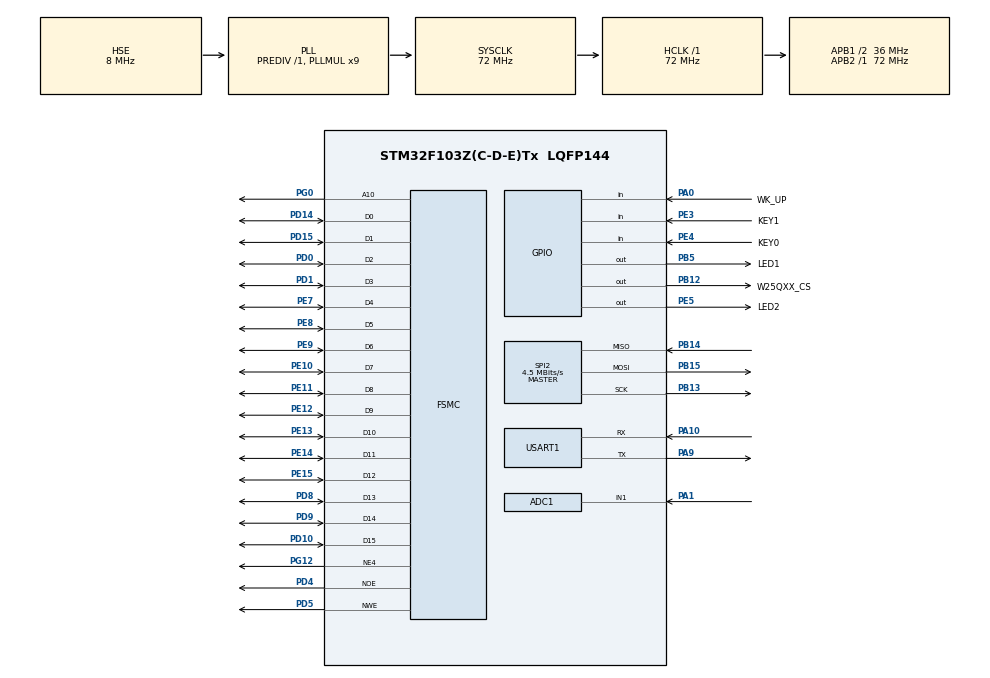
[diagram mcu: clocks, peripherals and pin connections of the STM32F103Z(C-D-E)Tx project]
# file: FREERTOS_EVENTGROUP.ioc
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ADC1.Channel-3\#ChannelRegularConversion=ADC_CHANNEL_1
ADC1.ExternalTrigConv=ADC_EXTERNALTRIGCONV_T3_TRGO
ADC1.NbrOfConversionFlag=1
ADC1.Rank-3\#ChannelRegularConversion=1
ADC1.SamplingTime-3\#ChannelRegularConversion=ADC_SAMPLETIME_1CYCLE_5
ADC1.master=1
FREERTOS.BinarySemaphores01=BinSem_DataReady,Dynamic,NULL
FREERTOS.INCLUDE_xEventGroupSetBitFromISR=1
FREERTOS.INCLUDE_xTaskAbortDelay=1
FREERTOS.INCLUDE_xTaskGetCurrentTaskHandle=1
FREERTOS.INCLUDE_xTaskGetHandle=1
FREERTOS.Queues01=Queue_Keys,10,uint8_t,0,Dynamic,NULL,NULL
FREERTOS.Tasks01=Task_LCD,24,128,AppTask_LCD,Default,NULL,Dynamic,NULL,NULL;Task_LED,16,128,AppTask_LED,Default,NULL,Dynamic,NULL,NULL;Task_ScanKeys,32,128,AppTask_ScanKeys,Default,NULL,Dynamic,NULL,NULL
FSMC.AddressSetupTime4=6
FSMC.BusTurnAroundDuration4=0
FSMC.DataSetupTime4=26
FSMC.ExtendedAddressSetupTime4=3
FSMC.ExtendedBusTurnAroundDuration4=0
FSMC.ExtendedDataSetupTime4=6
FSMC.ExtendedMode4=FSMC_EXTENDED_MODE_ENABLE
Mcu.Family=STM32F1
Mcu.Name=STM32F103Z(C-D-E)Tx
Mcu.Package=LQFP144
NVIC.PriorityGroup=NVIC_PRIORITYGROUP_4
NVIC.RTC_Alarm_IRQn=true\:5\:0\:false\:false\:true\:true\:true\:true\:true
NVIC.RTC_IRQn=true\:5\:0\:false\:false\:true\:true\:true\:true\:true
NVIC.TIM6_IRQn=true\:15\:0\:false\:false\:true\:false\:false\:true\:true
NVIC.TimeBase=TIM6_IRQn
NVIC.TimeBaseIP=TIM6
NVIC.USART1_IRQn=true\:5\:0\:false\:false\:true\:true\:true\:true\:true
OSC_IN.Mode=HSE-External-Oscillator
OSC_IN.Signal=RCC_OSC_IN
OSC_OUT.Mode=HSE-External-Oscillator
OSC_OUT.Signal=RCC_OSC_OUT
PA0-WKUP.GPIO_Label=WK_UP
PA0-WKUP.GPIO_PuPd=GPIO_PULLDOWN
PA0-WKUP.Signal=GPIO_Input
PA1.Signal=ADCx_IN1
PA10.Mode=Asynchronous
PA10.Signal=USART1_RX
PA13.Mode=Serial_Wire
PA13.Signal=SYS_JTMS-SWDIO
PA14.Mode=Serial_Wire
PA14.Signal=SYS_JTCK-SWCLK
PA9.Mode=Asynchronous
PA9.Signal=USART1_TX
PB12.GPIO_Label=W25QXX_CS
PB12.GPIO_PuPd=GPIO_PULLUP
PB12.GPIO_Speed=GPIO_SPEED_FREQ_HIGH
PB12.PinState=GPIO_PIN_SET
PB12.Signal=GPIO_Output
PB13.Mode=Full_Duplex_Master
PB13.Signal=SPI2_SCK
PB14.Mode=Full_Duplex_Master
PB14.Signal=SPI2_MISO
PB15.Mode=Full_Duplex_Master
PB15.Signal=SPI2_MOSI
PB5.GPIO_Label=LED1
PB5.GPIO_Speed=GPIO_SPEED_FREQ_HIGH
PB5.Signal=GPIO_Output
PC14-OSC32_IN.Mode=LSE-External-Oscillator
PC14-OSC32_IN.Signal=RCC_OSC32_IN
PC15-OSC32_OUT.Mode=LSE-External-Oscillator
PC15-OSC32_OUT.Signal=RCC_OSC32_OUT
PD0.Signal=FSMC_D2_DA2
PD1.Signal=FSMC_D3_DA3
PD10.Signal=FSMC_D15_DA15
PD14.Signal=FSMC_D0_DA0
PD15.Signal=FSMC_D1_DA1
PD4.Signal=FSMC_NOE
PD5.Signal=FSMC_NWE
PD8.Signal=FSMC_D13_DA13
PD9.Signal=FSMC_D14_DA14
PE10.Signal=FSMC_D7_DA7
PE11.Signal=FSMC_D8_DA8
PE12.Signal=FSMC_D9_DA9
PE13.Signal=FSMC_D10_DA10
PE14.Signal=FSMC_D11_DA11
PE15.Signal=FSMC_D12_DA12
PE3.GPIO_Label=KEY1
PE3.GPIO_PuPd=GPIO_PULLUP
PE3.Signal=GPIO_Input
PE4.GPIO_Label=KEY0
PE4.GPIO_PuPd=GPIO_PULLUP
PE4.Signal=GPIO_Input
PE5.GPIO_Label=LED2
PE5.GPIO_Speed=GPIO_SPEED_FREQ_HIGH
PE5.Signal=GPIO_Output
PE7.Signal=FSMC_D4_DA4
PE8.Signal=FSMC_D5_DA5
PE9.Signal=FSMC_D6_DA6
PG0.Signal=FSMC_A10
PG12.Mode=NorPsramChipSelect4_4
PG12.Signal=FSMC_NE4
ProjectManager.HeapSize=0x200
ProjectManager.StackSize=0x400
ProjectManager.TargetToolchain=STM32CubeIDE
RCC.AHBFreq_Value=72000000
RCC.APB1CLKDivider=RCC_HCLK_DIV2
RCC.APB1Freq_Value=36000000
RCC.APB1TimFreq_Value=72000000
RCC.APB2Freq_Value=72000000
RCC.APB2TimFreq_Value=72000000
RCC.HCLKFreq_Value=72000000
RCC.PLLMUL=RCC_PLL_MUL9
RCC.PLLSourceVirtual=RCC_PLLSOURCE_HSE
RCC.RTCClockSelection=RCC_RTCCLKSOURCE_LSE
RCC.SYSCLKFreq_VALUE=72000000
RCC.SYSCLKSource=RCC_SYSCLKSOURCE_PLLCLK
RCC.USBFreq_Value=72000000
RTC.AutoPrediv=RTC_AUTO_1_SECOND
RTC.Format=RTC_FORMAT_BIN
SH.ADCx_IN1.0=ADC1_IN1,IN1
SH.FSMC_A10.0=FSMC_A10,A10_4
SH.FSMC_D0_DA0.0=FSMC_D0,16b-d4
SH.FSMC_D10_DA10.0=FSMC_D10,16b-d4
SH.FSMC_D11_DA11.0=FSMC_D11,16b-d4
SH.FSMC_D12_DA12.0=FSMC_D12,16b-d4
SH.FSMC_D13_DA13.0=FSMC_D13,16b-d4
SH.FSMC_D14_DA14.0=FSMC_D14,16b-d4
SH.FSMC_D15_DA15.0=FSMC_D15,16b-d4
SH.FSMC_D1_DA1.0=FSMC_D1,16b-d4
SH.FSMC_D2_DA2.0=FSMC_D2,16b-d4
SH.FSMC_D3_DA3.0=FSMC_D3,16b-d4
SH.FSMC_D4_DA4.0=FSMC_D4,16b-d4
SH.FSMC_D5_DA5.0=FSMC_D5,16b-d4
SH.FSMC_D6_DA6.0=FSMC_D6,16b-d4
SH.FSMC_D7_DA7.0=FSMC_D7,16b-d4
SH.FSMC_D8_DA8.0=FSMC_D8,16b-d4
SH.FSMC_D9_DA9.0=FSMC_D9,16b-d4
SH.FSMC_NOE.0=FSMC_NOE,Lcd4
SH.FSMC_NWE.0=FSMC_NWE,Lcd4
SPI2.BaudRatePrescaler=SPI_BAUDRATEPRESCALER_8
SPI2.CLKPhase=SPI_PHASE_2EDGE
SPI2.CLKPolarity=SPI_POLARITY_HIGH
SPI2.CRCCalculation=SPI_CRCCALCULATION_DISABLE
SPI2.CalculateBaudRate=4.5 MBits/s
SPI2.Direction=SPI_DIRECTION_2LINES
SPI2.Mode=SPI_MODE_MASTER
SPI2.VirtualType=VM_MASTER
TIM3.Period=4999
TIM3.Prescaler=7199
TIM3.TIM_MasterOutputTrigger=TIM_TRGO_UPDATE
USART1.VirtualMode=VM_ASYNC
VP_FREERTOS_VS_CMSIS_V2.Mode=CMSIS_V2
VP_RTC_VS_RTC_Activate.Mode=RTC_Enabled
VP_SYS_VS_tim6.Mode=TIM6
VP_TIM3_VS_ClockSourceINT.Mode=Internal
board=custom

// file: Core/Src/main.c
/* USER CODE BEGIN Header */
/**
  ******************************************************************************
  * @file           : main.c
  * @brief          : Main program body
  ******************************************************************************
  * @attention
  *
  * Copyright (c) 2023 STMicroelectronics.
  * All rights reserved.
  *
  * This software is licensed under terms that can be found in the LICENSE file
  * in the root directory of this software component.
  * If no LICENSE file comes with this software, it is provided AS-IS.
  *
  ******************************************************************************
  */
/* USER CODE END Header */
#include "main.h"
#include "cmsis_os.h"
#include "adc.h"
#include "rtc.h"
#include "spi.h"
#include "tim.h"
#include "usart.h"
#include "gpio.h"
#include "fsmc.h"

/* USER CODE BEGIN Includes */
#include "stdio.h"
#include "lcd.h"
#include "w25qxx.h"
#include <string.h>
/* USER CODE END Includes */

void SystemClock_Config(void);
void MX_FREERTOS_Init(void);

int main(void)
{
  /* USER CODE BEGIN 1 */
	int x = 0,FLASH_SIZE,id;
	u8 lcd_id[12],datatemp[20];						//存放LCD ID字符�?????????????????
  /* USER CODE END 1 */

  /* MCU Configuration--------------------------------------------------------*/

  /* Reset of all peripherals, Initializes the Flash interface and the Systick. */
  HAL_Init();

  /* Configure the system clock */
  SystemClock_Config();

  /* Initialize all configured peripherals */
  MX_GPIO_Init();
  MX_USART1_UART_Init();
  MX_FSMC_Init();
  MX_SPI2_Init();
  MX_RTC_Init();
  MX_ADC1_Init();
  MX_TIM3_Init();
  /* USER CODE BEGIN 2 */
	LCD_Init();
	POINT_COLOR=RED;     				//画笔颜色：红�?????????????????
//	sprintf((char*)lcd_id,"LCD ID:%04X",lcddev.id);//将LCD ID打印到lcd_id数组�?????????????????
	LCD_Clear(WHITE);
//	POINT_COLOR=RED;
//	HAL_ADC_Start_IT(&hadc1); //以中断方式启动ADC
//	HAL_TIM_Base_Start(&htim3); //启动定时�?
	LCD_ShowString(30,40,210,12,12,"Demo7_1:EventGroup");

  /* USER CODE END 2 */

  /* Init scheduler */
  osKernelInitialize();  /* Call init function for freertos objects (in freertos.c) */
  MX_FREERTOS_Init();

  /* Start scheduler */
  osKernelStart();
  /* We should never get here as control is now taken by the scheduler */
  /* Infinite loop */
  /* USER CODE BEGIN WHILE */
	while (1)
	{

		osDelay(500);
		HAL_GPIO_TogglePin(LED1_GPIO_Port,LED1_Pin);
    /* USER CODE END WHILE */

  }
}

void SystemClock_Config(void)
{
  RCC_OscInitTypeDef RCC_OscInitStruct = {0};
  RCC_ClkInitTypeDef RCC_ClkInitStruct = {0};
  RCC_PeriphCLKInitTypeDef PeriphClkInit = {0};

  /** Initializes the RCC Oscillators according to the specified parameters
  * in the RCC_OscInitTypeDef structure.
  */
  RCC_OscInitStruct.OscillatorType = RCC_OSCILLATORTYPE_HSE|RCC_OSCILLATORTYPE_LSE;
  RCC_OscInitStruct.HSEState = RCC_HSE_ON;
  RCC_OscInitStruct.HSEPredivValue = RCC_HSE_PREDIV_DIV1;
  RCC_OscInitStruct.LSEState = RCC_LSE_ON;
  RCC_OscInitStruct.HSIState = RCC_HSI_ON;
  RCC_OscInitStruct.PLL.PLLState = RCC_PLL_ON;
  RCC_OscInitStruct.PLL.PLLSource = RCC_PLLSOURCE_HSE;
  RCC_OscInitStruct.PLL.PLLMUL = RCC_PLL_MUL9;
  if (HAL_RCC_OscConfig(&RCC_OscInitStruct) != HAL_OK)
  {
    Error_Handler();
  }

  /** Initializes the CPU, AHB and APB buses clocks
  */
  RCC_ClkInitStruct.ClockType = RCC_CLOCKTYPE_HCLK|RCC_CLOCKTYPE_SYSCLK
                              |RCC_CLOCKTYPE_PCLK1|RCC_CLOCKTYPE_PCLK2;
  RCC_ClkInitStruct.SYSCLKSource = RCC_SYSCLKSOURCE_PLLCLK;
  RCC_ClkInitStruct.AHBCLKDivider = RCC_SYSCLK_DIV1;
  RCC_ClkInitStruct.APB1CLKDivider = RCC_HCLK_DIV2;
  RCC_ClkInitStruct.APB2CLKDivider = RCC_HCLK_DIV1;

  if (HAL_RCC_ClockConfig(&RCC_ClkInitStruct, FLASH_LATENCY_2) != HAL_OK)
  {
    Error_Handler();
  }
  PeriphClkInit.PeriphClockSelection = RCC_PERIPHCLK_RTC|RCC_PERIPHCLK_ADC;
  PeriphClkInit.RTCClockSelection = RCC_RTCCLKSOURCE_LSE;
  PeriphClkInit.AdcClockSelection = RCC_ADCPCLK2_DIV2;
  if (HAL_RCCEx_PeriphCLKConfig(&PeriphClkInit) != HAL_OK)
  {
    Error_Handler();
  }
}

/* USER CODE BEGIN 4 */

void delay_us(uint32_t udelay)
{
  uint32_t startval,tickn,delays,wait;

  startval = SysTick->VAL;
  tickn = HAL_GetTick();
  //sysc = 72000;  //SystemCoreClock / (1000U / uwTickFreq);
  delays =udelay * 72; //sysc / 1000 * udelay;
  if(delays > startval)
    {
      while(HAL_GetTick() == tickn)
        {

        }
      wait = 72000 + startval - delays;
      while(wait < SysTick->VAL)
        {

        }
    }
  else
    {
      wait = startval - delays;
      while(wait < SysTick->VAL && HAL_GetTick() == tickn)
        {

        }
    }
}

void delay_ms(uint32_t udelay)
{
	HAL_Delay(udelay);
	//osDelay(udelay);
}
/* USER CODE END 4 */

void HAL_TIM_PeriodElapsedCallback(TIM_HandleTypeDef *htim)
{
  if (htim->Instance == TIM6) {
    HAL_IncTick();
  }
}

void Error_Handler(void)
{
  __disable_irq();
  while (1)
  {
  }
}

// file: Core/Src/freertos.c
/* USER CODE BEGIN Header */
/**
  ******************************************************************************
  * File Name          : freertos.c
  * Description        : Code for freertos applications
  ******************************************************************************
  * @attention
  *
  * Copyright (c) 2023 STMicroelectronics.
  * All rights reserved.
  *
  * This software is licensed under terms that can be found in the LICENSE file
  * in the root directory of this software component.
  * If no LICENSE file comes with this software, it is provided AS-IS.
  *
  ******************************************************************************
  */
/* USER CODE END Header */

#include "FreeRTOS.h"
#include "task.h"
#include "main.h"
#include "cmsis_os.h"

/* USER CODE BEGIN Includes */
#include "lcd.h"
#include "adc.h"
#include "gpio.h"
#include "queue.h"
#include "semphr.h"
#include "event_groups.h" //事件组相关头文件
/* USER CODE END Includes */

/* USER CODE BEGIN PD */
#define BITMASK_KEY_LEFT 0x04 //KeyLeft的事件位掩码，使用Bit2位
#define BITMASK_KEY_RIGHT 0x01 //KeyRight的事件位掩码，使用Bit0位
/* USER CODE END PD */

/* USER CODE BEGIN Variables */
uint32_t adc_value;
EventGroupHandle_t eventGroupHandle; //事件组对象句柄
/* USER CODE END Variables */
/* Definitions for Task_LCD */
osThreadId_t Task_LCDHandle;
const osThreadAttr_t Task_LCD_attributes = {
  .name = "Task_LCD",
  .stack_size = 128 * 4,
  .priority = (osPriority_t) osPriorityNormal,
};
/* Definitions for Task_LED */
osThreadId_t Task_LEDHandle;
const osThreadAttr_t Task_LED_attributes = {
  .name = "Task_LED",
  .stack_size = 128 * 4,
  .priority = (osPriority_t) osPriorityBelowNormal,
};
/* Definitions for Task_ScanKeys */
osThreadId_t Task_ScanKeysHandle;
const osThreadAttr_t Task_ScanKeys_attributes = {
  .name = "Task_ScanKeys",
  .stack_size = 128 * 4,
  .priority = (osPriority_t) osPriorityAboveNormal,
};
/* Definitions for Queue_Keys */
osMessageQueueId_t Queue_KeysHandle;
const osMessageQueueAttr_t Queue_Keys_attributes = {
  .name = "Queue_Keys"
};
/* Definitions for BinSem_DataReady */
osSemaphoreId_t BinSem_DataReadyHandle;
const osSemaphoreAttr_t BinSem_DataReady_attributes = {
  .name = "BinSem_DataReady"
};

void AppTask_LCD(void *argument);
void AppTask_LED(void *argument);
void AppTask_ScanKeys(void *argument);

void MX_FREERTOS_Init(void); /* (MISRA C 2004 rule 8.1) */

void MX_FREERTOS_Init(void) {

  /* Create the semaphores(s) */
  /* creation of BinSem_DataReady */
  BinSem_DataReadyHandle = osSemaphoreNew(1, 1, &BinSem_DataReady_attributes);

  /* Create the queue(s) */
  /* creation of Queue_Keys */
  Queue_KeysHandle = osMessageQueueNew (10, sizeof(uint8_t), &Queue_Keys_attributes);

  /* USER CODE BEGIN RTOS_QUEUES */
  /* add queues, ... */
  eventGroupHandle= xEventGroupCreate(); //创建事件组
  /* USER CODE END RTOS_QUEUES */

  /* Create the thread(s) */
  /* creation of Task_LCD */
  Task_LCDHandle = osThreadNew(AppTask_LCD, NULL, &Task_LCD_attributes);

  /* creation of Task_LED */
  Task_LEDHandle = osThreadNew(AppTask_LED, NULL, &Task_LED_attributes);

  /* creation of Task_ScanKeys */
  Task_ScanKeysHandle = osThreadNew(AppTask_ScanKeys, NULL, &Task_ScanKeys_attributes);

}

void AppTask_LCD(void *argument)
{
  /* USER CODE BEGIN AppTask_LCD */
  /* Infinite loop */
	BaseType_t clearOnExit=pdTRUE; // pdTRUE=退出时清除事件位
	BaseType_t waitForAllBits=pdTRUE; //pdTRUE=逻辑与, pdFALSE=逻辑或
	EventBits_t bitsToWait=BITMASK_KEY_LEFT | BITMASK_KEY_RIGHT; //等待的事件位
	for(;;)
	{
		EventBits_t result= xEventGroupWaitBits(eventGroupHandle, bitsToWait,
		clearOnExit, waitForAllBits, portMAX_DELAY );
		for(uint8_t i=0; i<10; i++)
		{
			LCD_ShowNum(30,70,i,4,12);
			vTaskDelay(pdMS_TO_TICKS(500));
		}
	}
  /* USER CODE END AppTask_LCD */
}

void AppTask_LED(void *argument)
{
  /* USER CODE BEGIN AppTask_LED */
  /* Infinite loop */
	BaseType_t clearOnExit=pdTRUE; // pdTRUE=退出时清除事件位
	BaseType_t waitForAllBits=pdTRUE; //pdTRUE=逻辑与, pdFALSE=逻辑或
	EventBits_t bitsToWait=BITMASK_KEY_LEFT | BITMASK_KEY_RIGHT; //等待的事件位
	for(;;)
	{
		EventBits_t result= xEventGroupWaitBits(eventGroupHandle, bitsToWait,
		clearOnExit, waitForAllBits, portMAX_DELAY );
		for(uint8_t i=0; i<10; i++)
		{ //使LED1闪烁几次
			HAL_GPIO_TogglePin(LED1_GPIO_Port, LED1_Pin);
			vTaskDelay(pdMS_TO_TICKS(500));
		}
	}
  /* USER CODE END AppTask_LED */
}

void AppTask_ScanKeys(void *argument)
{
  /* USER CODE BEGIN AppTask_ScanKeys */
  /* Infinite loop */
	for(;;)
	{
		EventBits_t curBits = xEventGroupGetBits(eventGroupHandle);
		LCD_ShowNum(30,50,curBits,4,12);
		if(KEY0 == KEY_DOWN)
		{
			xEventGroupSetBits(eventGroupHandle, BITMASK_KEY_LEFT);
			vTaskDelay(200);
		}
		else if(KEY1 == KEY_DOWN)
		{
			xEventGroupSetBits(eventGroupHandle, BITMASK_KEY_RIGHT);
			vTaskDelay(200);
		}
		else if(WK_UP == KEY_DOWN)
		{
			xEventGroupClearBits(eventGroupHandle, BITMASK_KEY_LEFT | BITMASK_KEY_RIGHT);
			vTaskDelay(200);
		}
		else
		{
			vTaskDelay(50);
		}
	}
  /* USER CODE END AppTask_ScanKeys */
}

/* USER CODE BEGIN Application */
//void HAL_ADC_ConvCpltCallback(ADC_HandleTypeDef* hadc)
//{
//	if(hadc->Instance == ADC1)
//	{
//		adc_value = HAL_ADC_GetValue(hadc);
//		BaseType_t highTaskWoken = pdFALSE;
//		if(BinSem_DataReadyHandle != NULL)
//		{
//			xSemaphoreGiveFromISR(BinSem_DataReadyHandle,&highTaskWoken);
//			portYIELD_FROM_ISR(highTaskWoken);
//		}
//	}
//}
/* USER CODE END Application */
